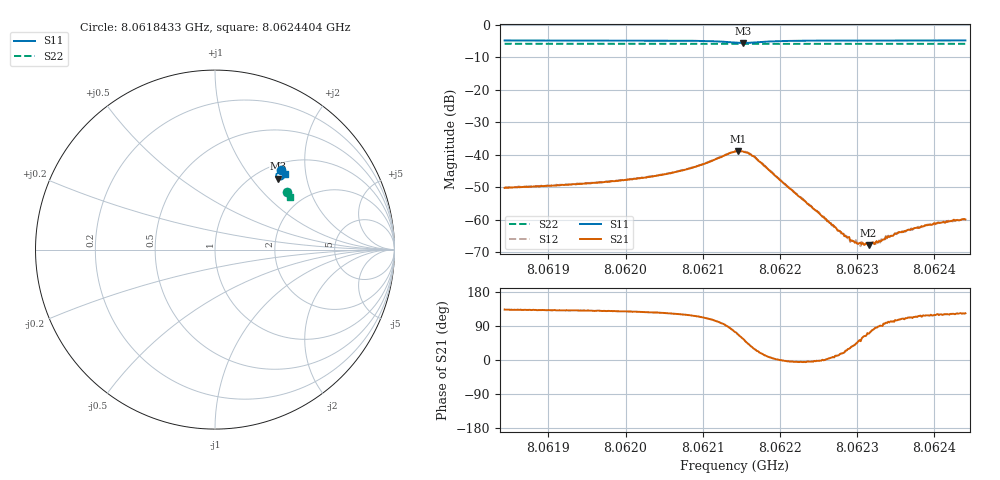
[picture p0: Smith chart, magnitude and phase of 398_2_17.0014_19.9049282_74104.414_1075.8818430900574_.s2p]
#  HZ  S  RI  R  50.00
! Rohde & Schwarz Vector Network Analyzer
! Rohde-Schwarz,ZNB20-2Port,1311601062101988,3.16
! Created: UTC 3/20/2024, 11:09:56 PM
! freq[Hz]  re:S11  im:S11  re:S21  im:S21  re:S12  im:S12  re:S22  im:S22
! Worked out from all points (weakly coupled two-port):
!   401 points, 8.0618433 GHz to 8.0624404 GHz, reference 50 ohm
!   highest |S21| = -38.90 dB at 8.0621463 GHz (marker M1); lowest = -67.9 dB at 8.062315 GHz (marker M2)
!   lowest |S11| = -5.6 dB at 8.0621523 GHz (marker M3), VSWR 3.23, Z = 62.5 + j68.3 ohm
!   |S11| at or under -10 dB: nowhere
!   |S22| runs from -5.9 to -5.8 dB; largest |S21 - S12| = 0.00082
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8.06184328e9  0.367 0.444  -0.0021 0.00225  -0.00195 0.00242  0.3991 0.3211
8.0619433e9  0.3741 0.4377  -0.0023 0.0027  -0.00215 0.00287  0.4029 0.316
8.06200152e9  0.3787 0.4329  -0.00252 0.00321  -0.00235 0.0034  0.4051 0.3131
8.06204332e9  0.3822 0.4279  -0.00275 0.00397  -0.0025 0.00412  0.4066 0.3108
8.06209109e9  0.3863 0.4171  -0.00285 0.0059  -0.00253 0.00609  0.4083 0.3081
8.06214185e9  0.3656 0.3901  0.00313 0.0107  0.00372 0.0107  0.4088 0.3046
8.06214633e9  0.359 0.3906  0.00456 0.0104  0.00507 0.0102  0.4085 0.3046
8.0621523e9  0.3503 0.3944  0.00636 0.00921  0.0069 0.00894  0.4085 0.3046
8.06216126e9  0.3421 0.4062  0.00793 0.00628  0.00841 0.00605  0.4085 0.3047
8.06216872e9  0.3415 0.4166  0.00792 0.004  0.00819 0.00353  0.4089 0.3049
8.06219261e9  0.3543 0.4333  0.00488 0.000293  0.00494 -2.88e-05  0.4107 0.3043
8.06224187e9  0.3718 0.4347  0.00152 -0.000106  0.00153 -0.000175  0.4129 0.3019
8.0622777e9  0.3779 0.4323  0.000634 0.000174  0.000657 0.00011  0.4144 0.2998
8.06229412e9  0.3799 0.4313  0.000375 0.000277  0.000386 0.000272  0.4152 0.299
8.06230009e9  0.3807 0.4307  0.000302 0.000306  0.000303 0.000293  0.4154 0.2987
8.06231502e9  0.3822 0.4299  0.000143 0.000378  0.000117 0.000371  0.4158 0.2979
8.06232995e9  0.3837 0.4289  -5.11e-06 0.000463  -1.98e-05 0.000441  0.4163 0.2971
8.06234189e9  0.3848 0.4281  -8.61e-05 0.000534  -9.24e-05 0.000527  0.4168 0.2965
8.06235234e9  0.3858 0.4274  -0.000161 0.00059  -0.0001 0.000616  0.4173 0.2959
8.06238369e9  0.3882 0.4254  -0.000322 0.000721  -0.000279 0.000713  0.4183 0.2943
8.06239115e9  0.3889 0.4251  -0.000382 0.000723  -0.000335 0.000768  0.4186 0.2941
8.06244042e9  0.3922 0.4223  -0.00055 0.000838  -0.000517 0.000878  0.4204 0.2914
